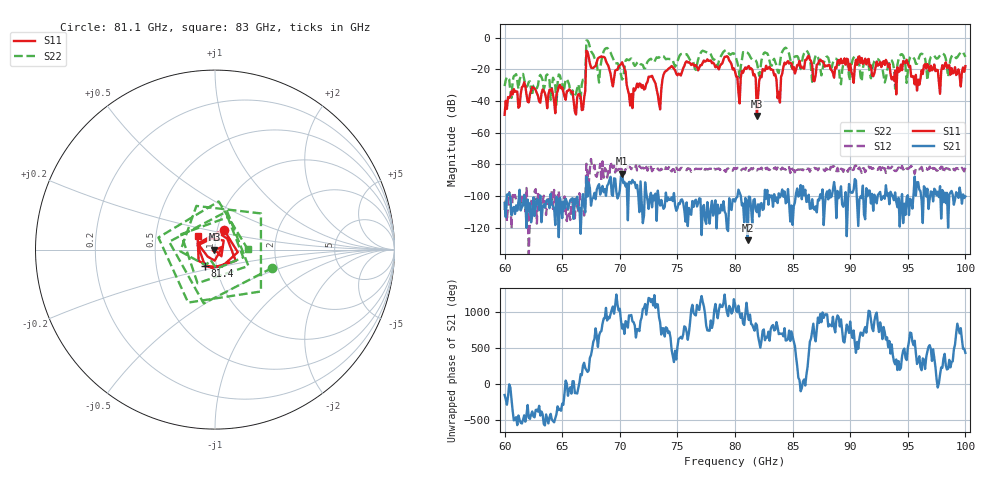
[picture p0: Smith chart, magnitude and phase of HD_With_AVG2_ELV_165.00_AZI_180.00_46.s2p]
! 11/25/2026 10:33:18 AM
! C:\ANRITSUVNA\TEMP\TEMP.S2P
! CHANNEL.1
! TR.MEASUREMENT
! RAW.DATA
# HZ S RI R 50.0
! FREQ.HZ  S11RE  S11IM  S21RE  S21IM  S12RE  S12IM  S22RE  S22IM
!; PortSelection: Port_12
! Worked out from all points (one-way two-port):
!   401 points, 60 GHz to 100 GHz, reference 50 ohm
!   highest |S21| = -85.79 dB at 70.2 GHz (marker M1); lowest = -128.0 dB at 81.1 GHz (marker M2)
!   lowest |S11| = -49.4 dB at 81.9 GHz (marker M3), VSWR 1.01, Z = 49.7 + j0.0536 ohm
!   |S11| at or under -10 dB: start of sweep to 67.09 GHz; 67.24 GHz to end of sweep
!   |S22| runs from -42.9 to -1.7 dB; largest |S21 - S12| = 0.00014
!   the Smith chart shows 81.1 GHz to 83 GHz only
!   S11 on the Smith chart (normalised r, x): 81.1 GHz: 1.08, +0.24; 81.4 GHz: 0.88, -0.17; 83 GHz: 0.82, +0.12
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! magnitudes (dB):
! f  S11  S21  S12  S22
! 60 GHz  -48.7  -104.4  -108.9  -30.5
! 61.6 GHz  -30.6  -106.0  -104.0  -22.8
! 66.7 GHz  -45.7  -105.6  -103.9  -29.5
! 67.3 GHz  -12.1  -91.3  -92.5  -3.1
! 68.1 GHz  -13.0  -93.8  -84.2  -22.5
! 68.9 GHz  -16.5  -93.6  -88.4  -6.5
! 70.2 GHz  -15.5  -85.8  -83.3  -26.4
! 70.9 GHz  -42.8  -91.2  -81.8  -13.5
! 72.7 GHz  -24.4  -98.0  -81.4  -13.3
! 73.4 GHz  -41.2  -102.8  -83.7  -12.6
! 74.4 GHz  -18.6  -102.4  -83.5  -13.4
! 79.2 GHz  -12.0  -111.4  -84.8  -7.8
! 80 GHz  -21.2  -103.6  -82.4  -11.0
! 81.1 GHz  -18.4  -128.0  -83.6  -9.5
! 81.4 GHz  -19.3  -107.9  -82.4  -13.0
! 81.9 GHz  -49.4  -110.2  -83.8  -15.7
! 83 GHz  -18.3  -99.4  -83.5  -14.8
! 83.8 GHz  -34.1  -98.3  -83.8  -22.3
! 84.4 GHz  -16.7  -104.6  -83.4  -6.3
! 86.7 GHz  -17.4  -102.0  -83.5  -27.9
! 93.4 GHz  -16.4  -105.2  -82.5  -15.6
! 100 GHz  -17.9  -100.2  -81.6  -12.1
